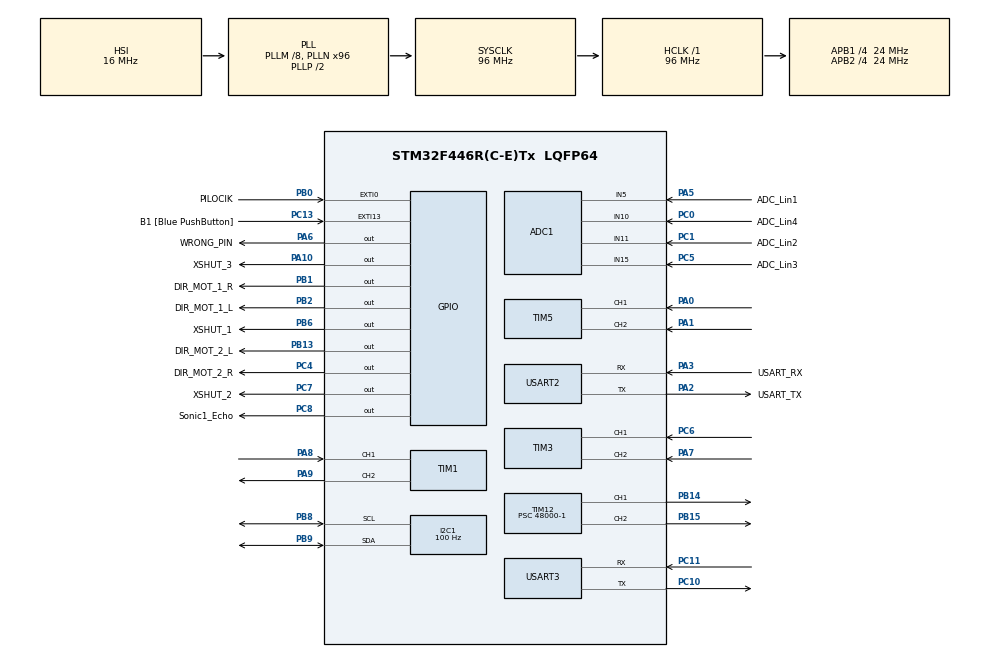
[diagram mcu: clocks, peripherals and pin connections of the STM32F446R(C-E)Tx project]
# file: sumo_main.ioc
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ADC1.Channel-2\#ChannelRegularConversion=ADC_CHANNEL_5
ADC1.NbrOfConversionFlag=1
ADC1.Rank-2\#ChannelRegularConversion=1
ADC1.SamplingTime-2\#ChannelRegularConversion=ADC_SAMPLETIME_3CYCLES
ADC1.master=1
I2C1.ClockSpeed=100
Mcu.Family=STM32F4
Mcu.Name=STM32F446R(C-E)Tx
Mcu.Package=LQFP64
NVIC.EXTI0_IRQn=true\:0\:0\:false\:false\:true\:true\:true\:true
NVIC.PriorityGroup=NVIC_PRIORITYGROUP_0
NVIC.TIM1_BRK_TIM9_IRQn=true\:0\:0\:false\:false\:true\:true\:true\:true
NVIC.TIM8_UP_TIM13_IRQn=true\:0\:0\:false\:false\:true\:true\:true\:true
PA0-WKUP.Signal=S_TIM5_CH1
PA1.Signal=S_TIM5_CH2
PA10.GPIO_Label=XSHUT_3
PA10.Signal=GPIO_Output
PA13.GPIO_Label=TMS
PA13.Signal=SYS_JTMS-SWDIO
PA14.GPIO_Label=TCK
PA14.Signal=SYS_JTCK-SWCLK
PA2.GPIO_Label=USART_TX
PA2.Mode=Asynchronous
PA2.Signal=USART2_TX
PA3.GPIO_Label=USART_RX
PA3.Mode=Asynchronous
PA3.Signal=USART2_RX
PA5.GPIO_Label=ADC_Lin1
PA5.Signal=ADCx_IN5
PA6.GPIO_Label=WRONG_PIN
PA6.Signal=GPIO_Output
PA7.Signal=S_TIM3_CH2
PA8.Signal=S_TIM1_CH1
PA9.Signal=S_TIM1_CH2
PB0.GPIO_Label=PILOCIK
PB0.Signal=GPXTI0
PB1.GPIO_Label=DIR_MOT_1_R
PB1.Signal=GPIO_Output
PB10.Signal=S_TIM2_CH3
PB13.GPIO_Label=DIR_MOT_2_L
PB13.Signal=GPIO_Output
PB14.Signal=S_TIM12_CH1
PB15.Signal=S_TIM12_CH2
PB2.GPIO_Label=DIR_MOT_1_L
PB2.Signal=GPIO_Output
PB3.Signal=S_TIM2_CH2
PB6.GPIO_Label=XSHUT_1
PB6.Signal=GPIO_Output
PB8.Mode=I2C
PB8.Signal=I2C1_SCL
PB9.Mode=I2C
PB9.Signal=I2C1_SDA
PC0.GPIO_Label=ADC_Lin4
PC0.Signal=ADCx_IN10
PC1.GPIO_Label=ADC_Lin2
PC1.Signal=ADCx_IN11
PC10.Mode=Asynchronous
PC10.Signal=USART3_TX
PC11.Mode=Asynchronous
PC11.Signal=USART3_RX
PC13.GPIO_Label=B1 [Blue PushButton]
PC13.GPIO_ModeDefaultEXTI=GPIO_MODE_IT_FALLING
PC13.Signal=GPXTI13
PC14-OSC32_IN.Signal=RCC_OSC32_IN
PC15-OSC32_OUT.Signal=RCC_OSC32_OUT
PC4.GPIO_Label=DIR_MOT_2_R
PC4.Signal=GPIO_Output
PC5.GPIO_Label=ADC_Lin3
PC5.Signal=ADCx_IN15
PC6.Signal=S_TIM3_CH1
PC7.GPIO_Label=XSHUT_2
PC7.Signal=GPIO_Output
PC8.GPIO_Label=Sonic1_Echo
PC8.Signal=GPIO_Output
PH0-OSC_IN.Signal=RCC_OSC_IN
PH1-OSC_OUT.Signal=RCC_OSC_OUT
ProjectManager.HeapSize=0x200
ProjectManager.StackSize=0x400
ProjectManager.TargetToolchain=STM32CubeIDE
RCC.AHBFreq_Value=96000000
RCC.APB1CLKDivider=RCC_HCLK_DIV4
RCC.APB1Freq_Value=24000000
RCC.APB1TimFreq_Value=48000000
RCC.APB2CLKDivider=RCC_HCLK_DIV4
RCC.APB2Freq_Value=24000000
RCC.APB2TimFreq_Value=48000000
RCC.CortexFreq_Value=96000000
RCC.FLatency-AdvancedSettings=FLASH_LATENCY_3
RCC.HCLKFreq_Value=96000000
RCC.HSE_VALUE=8000000
RCC.HSI_VALUE=16000000
RCC.LSE_VALUE=32768
RCC.PLLM=8
RCC.PLLN=96
RCC.SYSCLKFreq_VALUE=96000000
RCC.SYSCLKSource=RCC_SYSCLKSOURCE_PLLCLK
RCC.USBFreq_Value=96000000
RCC.VCOOutputFreq_Value=192000000
SH.ADCx_IN10.0=ADC1_IN10,IN10
SH.ADCx_IN11.0=ADC1_IN11,IN11
SH.ADCx_IN15.0=ADC1_IN15,IN15
SH.ADCx_IN5.0=ADC1_IN5,IN5
SH.S_TIM12_CH1.0=TIM12_CH1,PWM Generation1 CH1
SH.S_TIM12_CH2.0=TIM12_CH2,PWM Generation2 CH2
SH.S_TIM1_CH1.0=TIM1_CH1,Input_Capture1_from_TI1
SH.S_TIM1_CH2.0=TIM1_CH2,PWM Generation2 CH2
SH.S_TIM2_CH2.0=TIM2_CH2
SH.S_TIM2_CH3.0=TIM2_CH3
SH.S_TIM3_CH1.0=TIM3_CH1,Encoder_Interface
SH.S_TIM3_CH2.0=TIM3_CH2,Encoder_Interface
SH.S_TIM5_CH1.0=TIM5_CH1,Encoder_Interface
SH.S_TIM5_CH2.0=TIM5_CH2,Encoder_Interface
TIM1.Channel-Input_Capture1_from_TI1=TIM_CHANNEL_1
TIM1.Channel-PWM\ Generation2\ CH2=TIM_CHANNEL_2
TIM12.Channel-PWM\ Generation1\ CH1=TIM_CHANNEL_1
TIM12.Channel-PWM\ Generation2\ CH2=TIM_CHANNEL_2
TIM12.Period=300-1
TIM12.Prescaler=48000-1
TIM13.Channel=TIM_CHANNEL_1
TIM13.Period=48000-1
TIM13.Prescaler=1000-1
TIM9.Period=85-1
TIM9.Prescaler=48000-1
USART2.VirtualMode=VM_ASYNC
USART3.VirtualMode=VM_ASYNC
VP_TIM12_VS_ClockSourceINT.Mode=Internal
VP_TIM13_VS_ClockSourceINT.Mode=Enable_Timer
VP_TIM13_VS_OPM.Mode=OPM_bit
VP_TIM13_VS_no_output1.Mode=Output Compare1 No Output
VP_TIM9_VS_ClockSourceINT.Mode=Internal
board=NUCLEO-F446RE

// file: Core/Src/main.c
/* USER CODE BEGIN Header */
/**
  ******************************************************************************
  * @file           : main.c
  * @brief          : Main program body
  ******************************************************************************
  * @attention
  *
  * Copyright (c) 2025 STMicroelectronics.
  * All rights reserved.
  *
  * This software is licensed under terms that can be found in the LICENSE file
  * in the root directory of this software component.
  * If no LICENSE file comes with this software, it is provided AS-IS.
  *
  ******************************************************************************
  */
/* USER CODE END Header */
#include "main.h"

/* USER CODE BEGIN Includes */
#include <stdbool.h>
#include <stdio.h>
#include <string.h>

#include "lidar_I2C.h"
#include "lidar_UART.h"
#include "lineDetector.h"
#include "motors.h"
/* USER CODE END Includes */

/* USER CODE BEGIN PD */
#define forwardMaxSpeed 90
#define forwardMediumSpeed 50
#define forwardMinSpeed 35

#define turnMaxSpeed 55
#define turnMediumSpeed 50
#define turnMinSpeed 30

uint32_t lidarsThreshold = 300;

uint16_t distance1 = 0;
uint16_t distance2 = 0;
uint16_t distance3 = 0;
uint16_t distance4 = 0;

/* USER CODE END PD */

ADC_HandleTypeDef hadc1;

I2C_HandleTypeDef hi2c1;

TIM_HandleTypeDef htim1;
TIM_HandleTypeDef htim3;
TIM_HandleTypeDef htim5;
TIM_HandleTypeDef htim9;
TIM_HandleTypeDef htim12;
TIM_HandleTypeDef htim13;

UART_HandleTypeDef huart2;
UART_HandleTypeDef huart3;

/* USER CODE BEGIN PV */
//this value if false makes program stucks inside while(1) loop thats makes nothing
bool SUMO_ENABLE = true;

//while true all printf commands wont work - its for saving time
bool PRINTF_ENABLED = false;

//while true robot start moving slowly forward and making small truns to find enemy robot
bool SEARCH_ENABLED = true;

//while true robot can move
bool MOTORS_ENABLED = true;

bool LINE_SENSOR_ENABLED = false;

//the status of lidar detection if true than lidar is detecting some object
bool leftSideLidar = false;
bool leftFrontLidar = false;
bool rigthFrontLidar = false;
bool rigthSideLidar = false;

bool lineDetected = false;

#define ForwardSearch 1
#define LeftSearch 2
#define RigthSearch 3
#define RigthSearch2 4
#define LeftSearch2 5

int searchState = ForwardSearch;
int searchStateCounter = 0;
int searchStateChangeAfter = 20;

/* USER CODE END PV */

void SystemClock_Config(void);
static void MX_GPIO_Init(void);
static void MX_I2C1_Init(void);
static void MX_TIM3_Init(void);
static void MX_ADC1_Init(void);
static void MX_TIM5_Init(void);
static void MX_TIM12_Init(void);
static void MX_USART2_UART_Init(void);
static void MX_TIM1_Init(void);
static void MX_USART3_UART_Init(void);
static void MX_TIM9_Init(void);
static void MX_TIM13_Init(void);
/* USER CODE BEGIN PFP */

//this function allows easy UART printing (printf)
int __io_putchar(int ch)
{
	if(PRINTF_ENABLED){
		if (ch == '\n') {
		        uint8_t ch2 = '\r';
		        HAL_UART_Transmit(&huart2, &ch2, 1, HAL_MAX_DELAY);
		    }
	    HAL_UART_Transmit(&huart2, (uint8_t*)&ch, 1, HAL_MAX_DELAY);
	}
    return 1;
}

//clears screen inside terminal (works fine for PUTTY terminal, might be not compatible with others)
void clearScreen()
{
	uint8_t uartClrScr[] = { 27, 91, 50, 74, 27, 91, 72, 0 };
	HAL_UART_Transmit(&huart2, uartClrScr, sizeof(uartClrScr), 10);
}

//robot start moving slowly forward and making small truns to find enemy robot
void SumoSearch()
{
  searchStateCounter++;
  switch (searchState) {
	case ForwardSearch:
		if(searchStateCounter == 3 * searchStateChangeAfter)
		{
			searchState = LeftSearch;
			searchStateCounter = 0;
		}
		move_at_speed(forwardMediumSpeed, RIGTH_MOTOR);
		move_at_speed(forwardMediumSpeed, LEFT_MOTOR);
		break;
	case LeftSearch:
		if(searchStateCounter == searchStateChangeAfter)
		{
			searchState = RigthSearch;
			searchStateCounter = 0;
		}
		move_at_speed(turnMinSpeed, RIGTH_MOTOR);
		move_at_speed(0, LEFT_MOTOR);
		break;
	case RigthSearch:
		if(searchStateCounter == searchStateChangeAfter)
		{
			searchState = RigthSearch2;
			searchStateCounter = 0;
		}
		move_at_speed(0, RIGTH_MOTOR);
		move_at_speed(turnMinSpeed, LEFT_MOTOR);
		break;
	case RigthSearch2:
		if(searchStateCounter == searchStateChangeAfter)
		{
			searchState = LeftSearch2;
			searchStateCounter = 0;
		}
		move_at_speed(0, RIGTH_MOTOR);
		move_at_speed(turnMinSpeed, LEFT_MOTOR);
		break;
	case LeftSearch2:
		if(searchStateCounter == searchStateChangeAfter)
		{
			searchState = ForwardSearch;
			searchStateCounter = 0;
		}
		move_at_speed(turnMinSpeed, RIGTH_MOTOR);
		move_at_speed(0, LEFT_MOTOR);
		break;
	default:
		searchState = ForwardSearch;
		searchStateCounter = 0;
		move_at_speed(forwardMediumSpeed, RIGTH_MOTOR);
		move_at_speed(forwardMediumSpeed, LEFT_MOTOR);
		break;
  }
}

/* USER CODE END PFP */

int main(void)
{

  /* MCU Configuration--------------------------------------------------------*/

  /* Reset of all peripherals, Initializes the Flash interface and the Systick. */
  HAL_Init();

  /* Configure the system clock */
  SystemClock_Config();

  /* Initialize all configured peripherals */
  MX_GPIO_Init();
  MX_I2C1_Init();
  MX_TIM3_Init();
  MX_ADC1_Init();
  MX_TIM5_Init();
  MX_TIM12_Init();
  MX_USART2_UART_Init();
  MX_TIM1_Init();
  MX_USART3_UART_Init();
  MX_TIM9_Init();
  MX_TIM13_Init();
  /* USER CODE BEGIN 2 */
  HAL_Delay(100);
  clearScreen();
  if(!PRINTF_ENABLED){
	  PRINTF_ENABLED = true;
	  printf("Printing is disabled\n");
	  PRINTF_ENABLED = false;
  }

  Lidar_initALL();

  //enables timer that will be used for IR sensor to turn on and off robot
  HAL_TIM_OnePulse_Start_IT(&htim13, TIM_CHANNEL_ALL);

  HAL_TIM_PWM_Start(&htim12, TIM_CHANNEL_1);
  HAL_TIM_PWM_Start(&htim12, TIM_CHANNEL_2);

  sumoUpdateDirection();

  //move_at_speed(10, RIGTH_MOTOR);
  //move_at_speed(10, LEFT_MOTOR);

  /* USER CODE END 2 */

  /* Infinite loop */
  /* USER CODE BEGIN WHILE */

  if(!SUMO_ENABLE)
  	  {
  		  printf("Waiting for start signal\n\r");
  		  while(!SUMO_ENABLE){
  			  move_at_speed(0, RIGTH_MOTOR);
  			  move_at_speed(0, LEFT_MOTOR);
  		  }
  		  printf("Sumo enabled\n\r");
  	  }//*/

  bool firstDetection = false;

  while(1)
  {
	  move_at_speed(forwardMaxSpeed, RIGTH_MOTOR);
	  HAL_Delay(1000);
	  change_direction(RIGTH_MOTOR);
	  HAL_Delay(1000);
	  move_at_speed(0, RIGTH_MOTOR);
	  HAL_Delay(1000);
	  move_at_speed(forwardMaxSpeed, LEFT_MOTOR);
	  HAL_Delay(1000);
	  change_direction(LEFT_MOTOR);
	  HAL_Delay(1000);
	  move_at_speed(0, LEFT_MOTOR);
	  HAL_Delay(1000);
}

  while(!firstDetection)
  {
	  distance1 = readLidar3();			//temporary switched lidar 1 and 3
	  distance2 = readLidar2();
	  distance3 = readLidar1();        //temporary switched lidar 1 and 3
	  distance4 = readLidar4();

	  if(distance1 < lidarsThreshold)
	  {
		  rigthSideLidar = true;
	  }else rigthSideLidar=false;
	  if(distance2 < lidarsThreshold)
	  {
		  rigthFrontLidar = true;
	  }else rigthFrontLidar=false;

	  if(distance3 < lidarsThreshold)
	  {
		  rigthFrontLidar = true;
	  }else leftFrontLidar=false;
	  if(distance4 < lidarsThreshold)
	  {
		  leftSideLidar = true;
	  }else leftSideLidar=false;

	  move_at_speed(90, RIGTH_MOTOR);
	  move_at_speed(0, LEFT_MOTOR);

	  if(rigthSideLidar || rigthFrontLidar || rigthFrontLidar || rigthFrontLidar)
		  {
		  	  firstDetection = true;
			  move_at_speed(0, RIGTH_MOTOR);
			  move_at_speed(0, LEFT_MOTOR);
		  }
  }

  while (1)
  {
	  ///*
	  if(!SUMO_ENABLE)
	  {
		  printf("Waiting for start signal\n\r");
		  while(!SUMO_ENABLE){
			  move_at_speed(0, RIGTH_MOTOR);
			  move_at_speed(0, LEFT_MOTOR);
		  }
		  printf("Sumo enabled\n\r");
	  }//*/

	  auto start1 = HAL_GetTick();
	  distance1 = readLidar3();			//temporary switched lidar 1 and 3
	  auto end1 = HAL_GetTick();
	  auto start2 = HAL_GetTick();
	  distance2 = readLidar2();
	  auto end2 = HAL_GetTick();
	  auto start3 = HAL_GetTick();
	  distance3 = readLidar1();        //temporary switched lidar 1 and 3
	  auto end3 = HAL_GetTick();
	  auto start4 = HAL_GetTick();
	  distance4 = readLidar4();
	  auto end4 = HAL_GetTick();

	  if(distance1 < lidarsThreshold)
	  {
		  rigthSideLidar = true;
	  }else rigthSideLidar=false;
	  if(distance2 < lidarsThreshold)
	  {
		  rigthFrontLidar = true;
	  }else rigthFrontLidar=false;

	  if(distance3 < lidarsThreshold)
	  {
		  leftFrontLidar = true;
	  }else leftFrontLidar=false;
	  if(distance4 < lidarsThreshold)
	  {
		  leftSideLidar = true;
	  }else leftSideLidar=false;

      if(!LINE_SENSOR_ENABLED)
      {
    	  lineDetected = false;
      }
	  if(!lineDetected && MOTORS_ENABLED){
		  //move forward
		  if(leftFrontLidar && rigthFrontLidar)
		  {
			  move_at_speed(forwardMaxSpeed, RIGTH_MOTOR);
			  move_at_speed(forwardMaxSpeed, LEFT_MOTOR);
		  }

		  //turn right
		  else if(leftFrontLidar && leftSideLidar)
		  {
			  move_at_speed(forwardMaxSpeed, RIGTH_MOTOR);
			  move_at_speed(0, LEFT_MOTOR);
		  }

		  //turn left
		  else if(rigthFrontLidar && rigthSideLidar)
		  {
			  move_at_speed(0, RIGTH_MOTOR);
			  move_at_speed(forwardMaxSpeed, LEFT_MOTOR);
		  }

		  //side lidars detection (wide robot?) idk move forward
		  else if(rigthSideLidar && leftSideLidar)
		  {
			  move_at_speed(forwardMaxSpeed, RIGTH_MOTOR);
			  move_at_speed(forwardMaxSpeed, LEFT_MOTOR);
		  }

		  //turn right slightly
		  else if(leftSideLidar)
		  {
			  move_at_speed(turnMinSpeed, RIGTH_MOTOR);
			  move_at_speed(0, LEFT_MOTOR);
		  }

		  //turn right medium
		  else if(leftFrontLidar)
		  {
			  move_at_speed(turnMediumSpeed, RIGTH_MOTOR);
			  move_at_speed(0, LEFT_MOTOR);
		  }

		  //turn left slightly
		  else if(rigthSideLidar)
		  {
			  move_at_speed(0, RIGTH_MOTOR);
			  move_at_speed(turnMediumSpeed, LEFT_MOTOR);
		  }
		  //turn left medium
		  else if(rigthFrontLidar)
		  {
			  move_at_speed(0, RIGTH_MOTOR);
			  move_at_speed(turnMediumSpeed, LEFT_MOTOR);
		  }
		  else if(SEARCH_ENABLED)SumoSearch();
		  else
		  {
			  move_at_speed(0, RIGTH_MOTOR);
			  move_at_speed(0, LEFT_MOTOR);
		  }
		  //HAL_TIM_Base_Start_IT(&htim9);
	  }
	  printf("Czujnik 1: %d mm, Czujnik 2: %d mm, Czujnik 3: %d mm, Czujnik 4: %d mm\n", distance1, distance2, distance3, distance4);
	  if(!PRINTF_ENABLED)
	  {
		  PRINTF_ENABLED = true;
		  printf("%dms %dms %dms %dms\n",end1-start1, end2-start2, end3-start3, end4-start4);
		  PRINTF_ENABLED = false;
	  }else printf("%dms %dms %dms %dms\n",end1-start1, end2-start2, end3-start3, end4-start4);
	  //HAL_Delay(100);

	  auto line2 = LineDetectorMessure(2);
	  auto line3 = LineDetectorMessure(3);

	  if(line2 < 500)lineDetected = true;
	  else if (line3 < 500)lineDetected = true;
	  else lineDetected = false;

	  if(lineDetected && LINE_SENSOR_ENABLED)
	  {
		  move_at_speed(0, RIGTH_MOTOR);
		  move_at_speed(0, LEFT_MOTOR);
	  }

	  printf("Line2: %d, Line3: %d\n",line2,line3);

    /* USER CODE END WHILE */

  }
}

void SystemClock_Config(void)
{
  RCC_OscInitTypeDef RCC_OscInitStruct = {0};
  RCC_ClkInitTypeDef RCC_ClkInitStruct = {0};

  /** Configure the main internal regulator output voltage
  */
  __HAL_RCC_PWR_CLK_ENABLE();
  __HAL_PWR_VOLTAGESCALING_CONFIG(PWR_REGULATOR_VOLTAGE_SCALE3);

  /** Initializes the RCC Oscillators according to the specified parameters
  * in the RCC_OscInitTypeDef structure.
  */
  RCC_OscInitStruct.OscillatorType = RCC_OSCILLATORTYPE_HSI;
  RCC_OscInitStruct.HSIState = RCC_HSI_ON;
  RCC_OscInitStruct.HSICalibrationValue = RCC_HSICALIBRATION_DEFAULT;
  RCC_OscInitStruct.PLL.PLLState = RCC_PLL_ON;
  RCC_OscInitStruct.PLL.PLLSource = RCC_PLLSOURCE_HSI;
  RCC_OscInitStruct.PLL.PLLM = 8;
  RCC_OscInitStruct.PLL.PLLN = 96;
  RCC_OscInitStruct.PLL.PLLP = RCC_PLLP_DIV2;
  RCC_OscInitStruct.PLL.PLLQ = 2;
  RCC_OscInitStruct.PLL.PLLR = 2;
  if (HAL_RCC_OscConfig(&RCC_OscInitStruct) != HAL_OK)
  {
    Error_Handler();
  }

  /** Initializes the CPU, AHB and APB buses clocks
  */
  RCC_ClkInitStruct.ClockType = RCC_CLOCKTYPE_HCLK|RCC_CLOCKTYPE_SYSCLK
                              |RCC_CLOCKTYPE_PCLK1|RCC_CLOCKTYPE_PCLK2;
  RCC_ClkInitStruct.SYSCLKSource = RCC_SYSCLKSOURCE_PLLCLK;
  RCC_ClkInitStruct.AHBCLKDivider = RCC_SYSCLK_DIV1;
  RCC_ClkInitStruct.APB1CLKDivider = RCC_HCLK_DIV4;
  RCC_ClkInitStruct.APB2CLKDivider = RCC_HCLK_DIV4;

  if (HAL_RCC_ClockConfig(&RCC_ClkInitStruct, FLASH_LATENCY_3) != HAL_OK)
  {
    Error_Handler();
  }
}

static void MX_ADC1_Init(void)
{

  ADC_ChannelConfTypeDef sConfig = {0};

  /** Configure the global features of the ADC (Clock, Resolution, Data Alignment and number of conversion)
  */
  hadc1.Instance = ADC1;
  hadc1.Init.ClockPrescaler = ADC_CLOCK_SYNC_PCLK_DIV2;
  hadc1.Init.Resolution = ADC_RESOLUTION_12B;
  hadc1.Init.ScanConvMode = DISABLE;
  hadc1.Init.ContinuousConvMode = DISABLE;
  hadc1.Init.DiscontinuousConvMode = DISABLE;
  hadc1.Init.ExternalTrigConvEdge = ADC_EXTERNALTRIGCONVEDGE_NONE;
  hadc1.Init.ExternalTrigConv = ADC_SOFTWARE_START;
  hadc1.Init.DataAlign = ADC_DATAALIGN_RIGHT;
  hadc1.Init.NbrOfConversion = 1;
  hadc1.Init.DMAContinuousRequests = DISABLE;
  hadc1.Init.EOCSelection = ADC_EOC_SINGLE_CONV;
  if (HAL_ADC_Init(&hadc1) != HAL_OK)
  {
    Error_Handler();
  }

  /** Configure for the selected ADC regular channel its corresponding rank in the sequencer and its sample time.
  */
  sConfig.Channel = ADC_CHANNEL_5;
  sConfig.Rank = 1;
  sConfig.SamplingTime = ADC_SAMPLETIME_3CYCLES;
  if (HAL_ADC_ConfigChannel(&hadc1, &sConfig) != HAL_OK)
  {
    Error_Handler();
  }

}

static void MX_I2C1_Init(void)
{

  hi2c1.Instance = I2C1;
  hi2c1.Init.ClockSpeed = 100;
  hi2c1.Init.DutyCycle = I2C_DUTYCYCLE_2;
  hi2c1.Init.OwnAddress1 = 0;
  hi2c1.Init.AddressingMode = I2C_ADDRESSINGMODE_7BIT;
  hi2c1.Init.DualAddressMode = I2C_DUALADDRESS_DISABLE;
  hi2c1.Init.OwnAddress2 = 0;
  hi2c1.Init.GeneralCallMode = I2C_GENERALCALL_DISABLE;
  hi2c1.Init.NoStretchMode = I2C_NOSTRETCH_DISABLE;
  if (HAL_I2C_Init(&hi2c1) != HAL_OK)
  {
    Error_Handler();
  }

}

static void MX_TIM1_Init(void)
{

  TIM_MasterConfigTypeDef sMasterConfig = {0};
  TIM_IC_InitTypeDef sConfigIC = {0};
  TIM_OC_InitTypeDef sConfigOC = {0};
  TIM_BreakDeadTimeConfigTypeDef sBreakDeadTimeConfig = {0};

  htim1.Instance = TIM1;
  htim1.Init.Prescaler = 0;
  htim1.Init.CounterMode = TIM_COUNTERMODE_UP;
  htim1.Init.Period = 65535;
  htim1.Init.ClockDivision = TIM_CLOCKDIVISION_DIV1;
  htim1.Init.RepetitionCounter = 0;
  htim1.Init.AutoReloadPreload = TIM_AUTORELOAD_PRELOAD_DISABLE;
  if (HAL_TIM_IC_Init(&htim1) != HAL_OK)
  {
    Error_Handler();
  }
  if (HAL_TIM_PWM_Init(&htim1) != HAL_OK)
  {
    Error_Handler();
  }
  sMasterConfig.MasterOutputTrigger = TIM_TRGO_RESET;
  sMasterConfig.MasterSlaveMode = TIM_MASTERSLAVEMODE_DISABLE;
  if (HAL_TIMEx_MasterConfigSynchronization(&htim1, &sMasterConfig) != HAL_OK)
  {
    Error_Handler();
  }
  sConfigIC.ICPolarity = TIM_INPUTCHANNELPOLARITY_RISING;
  sConfigIC.ICSelection = TIM_ICSELECTION_DIRECTTI;
  sConfigIC.ICPrescaler = TIM_ICPSC_DIV1;
  sConfigIC.ICFilter = 0;
  if (HAL_TIM_IC_ConfigChannel(&htim1, &sConfigIC, TIM_CHANNEL_1) != HAL_OK)
  {
    Error_Handler();
  }
  sConfigOC.OCMode = TIM_OCMODE_PWM1;
  sConfigOC.Pulse = 0;
  sConfigOC.OCPolarity = TIM_OCPOLARITY_HIGH;
  sConfigOC.OCNPolarity = TIM_OCNPOLARITY_HIGH;
  sConfigOC.OCFastMode = TIM_OCFAST_DISABLE;
  sConfigOC.OCIdleState = TIM_OCIDLESTATE_RESET;
  sConfigOC.OCNIdleState = TIM_OCNIDLESTATE_RESET;
  if (HAL_TIM_PWM_ConfigChannel(&htim1, &sConfigOC, TIM_CHANNEL_2) != HAL_OK)
  {
    Error_Handler();
  }
  sBreakDeadTimeConfig.OffStateRunMode = TIM_OSSR_DISABLE;
  sBreakDeadTimeConfig.OffStateIDLEMode = TIM_OSSI_DISABLE;
  sBreakDeadTimeConfig.LockLevel = TIM_LOCKLEVEL_OFF;
  sBreakDeadTimeConfig.DeadTime = 0;
  sBreakDeadTimeConfig.BreakState = TIM_BREAK_DISABLE;
  sBreakDeadTimeConfig.BreakPolarity = TIM_BREAKPOLARITY_HIGH;
  sBreakDeadTimeConfig.AutomaticOutput = TIM_AUTOMATICOUTPUT_DISABLE;
  if (HAL_TIMEx_ConfigBreakDeadTime(&htim1, &sBreakDeadTimeConfig) != HAL_OK)
  {
    Error_Handler();
  }
  HAL_TIM_MspPostInit(&htim1);

}

static void MX_TIM3_Init(void)
{

  TIM_Encoder_InitTypeDef sConfig = {0};
  TIM_MasterConfigTypeDef sMasterConfig = {0};

  htim3.Instance = TIM3;
  htim3.Init.Prescaler = 0;
  htim3.Init.CounterMode = TIM_COUNTERMODE_UP;
  htim3.Init.Period = 65535;
  htim3.Init.ClockDivision = TIM_CLOCKDIVISION_DIV1;
  htim3.Init.AutoReloadPreload = TIM_AUTORELOAD_PRELOAD_DISABLE;
  sConfig.EncoderMode = TIM_ENCODERMODE_TI1;
  sConfig.IC1Polarity = TIM_ICPOLARITY_RISING;
  sConfig.IC1Selection = TIM_ICSELECTION_DIRECTTI;
  sConfig.IC1Prescaler = TIM_ICPSC_DIV1;
  sConfig.IC1Filter = 0;
  sConfig.IC2Polarity = TIM_ICPOLARITY_RISING;
  sConfig.IC2Selection = TIM_ICSELECTION_DIRECTTI;
  sConfig.IC2Prescaler = TIM_ICPSC_DIV1;
  sConfig.IC2Filter = 0;
  if (HAL_TIM_Encoder_Init(&htim3, &sConfig) != HAL_OK)
  {
    Error_Handler();
  }
  sMasterConfig.MasterOutputTrigger = TIM_TRGO_RESET;
  sMasterConfig.MasterSlaveMode = TIM_MASTERSLAVEMODE_DISABLE;
  if (HAL_TIMEx_MasterConfigSynchronization(&htim3, &sMasterConfig) != HAL_OK)
  {
    Error_Handler();
  }

}

static void MX_TIM5_Init(void)
{

  TIM_Encoder_InitTypeDef sConfig = {0};
  TIM_MasterConfigTypeDef sMasterConfig = {0};

  htim5.Instance = TIM5;
  htim5.Init.Prescaler = 0;
  htim5.Init.CounterMode = TIM_COUNTERMODE_UP;
  htim5.Init.Period = 4294967295;
  htim5.Init.ClockDivision = TIM_CLOCKDIVISION_DIV1;
  htim5.Init.AutoReloadPreload = TIM_AUTORELOAD_PRELOAD_DISABLE;
  sConfig.EncoderMode = TIM_ENCODERMODE_TI1;
  sConfig.IC1Polarity = TIM_ICPOLARITY_RISING;
  sConfig.IC1Selection = TIM_ICSELECTION_DIRECTTI;
  sConfig.IC1Prescaler = TIM_ICPSC_DIV1;
  sConfig.IC1Filter = 0;
  sConfig.IC2Polarity = TIM_ICPOLARITY_RISING;
  sConfig.IC2Selection = TIM_ICSELECTION_DIRECTTI;
  sConfig.IC2Prescaler = TIM_ICPSC_DIV1;
  sConfig.IC2Filter = 0;
  if (HAL_TIM_Encoder_Init(&htim5, &sConfig) != HAL_OK)
  {
    Error_Handler();
  }
  sMasterConfig.MasterOutputTrigger = TIM_TRGO_RESET;
  sMasterConfig.MasterSlaveMode = TIM_MASTERSLAVEMODE_DISABLE;
  if (HAL_TIMEx_MasterConfigSynchronization(&htim5, &sMasterConfig) != HAL_OK)
  {
    Error_Handler();
  }

}

static void MX_TIM9_Init(void)
{

  TIM_ClockConfigTypeDef sClockSourceConfig = {0};

  htim9.Instance = TIM9;
  htim9.Init.Prescaler = 48000-1;
  htim9.Init.CounterMode = TIM_COUNTERMODE_UP;
  htim9.Init.Period = 85-1;
  htim9.Init.ClockDivision = TIM_CLOCKDIVISION_DIV1;
  htim9.Init.AutoReloadPreload = TIM_AUTORELOAD_PRELOAD_DISABLE;
  if (HAL_TIM_Base_Init(&htim9) != HAL_OK)
  {
    Error_Handler();
  }
  sClockSourceConfig.ClockSource = TIM_CLOCKSOURCE_INTERNAL;
  if (HAL_TIM_ConfigClockSource(&htim9, &sClockSourceConfig) != HAL_OK)
  {
    Error_Handler();
  }

}

static void MX_TIM12_Init(void)
{

  TIM_ClockConfigTypeDef sClockSourceConfig = {0};
  TIM_OC_InitTypeDef sConfigOC = {0};

  htim12.Instance = TIM12;
  htim12.Init.Prescaler = 48000-1;
  htim12.Init.CounterMode = TIM_COUNTERMODE_UP;
  htim12.Init.Period = 300-1;
  htim12.Init.ClockDivision = TIM_CLOCKDIVISION_DIV1;
  htim12.Init.AutoReloadPreload = TIM_AUTORELOAD_PRELOAD_DISABLE;
  if (HAL_TIM_Base_Init(&htim12) != HAL_OK)
  {
    Error_Handler();
  }
  sClockSourceConfig.ClockSource = TIM_CLOCKSOURCE_INTERNAL;
  if (HAL_TIM_ConfigClockSource(&htim12, &sClockSourceConfig) != HAL_OK)
  {
    Error_Handler();
  }
  if (HAL_TIM_PWM_Init(&htim12) != HAL_OK)
  {
    Error_Handler();
  }
  sConfigOC.OCMode = TIM_OCMODE_PWM1;
  sConfigOC.Pulse = 0;
  sConfigOC.OCPolarity = TIM_OCPOLARITY_HIGH;
  sConfigOC.OCFastMode = TIM_OCFAST_DISABLE;
  if (HAL_TIM_PWM_ConfigChannel(&htim12, &sConfigOC, TIM_CHANNEL_1) != HAL_OK)
  {
    Error_Handler();
  }
  if (HAL_TIM_PWM_ConfigChannel(&htim12, &sConfigOC, TIM_CHANNEL_2) != HAL_OK)
  {
    Error_Handler();
  }
  HAL_TIM_MspPostInit(&htim12);

}

static void MX_TIM13_Init(void)
{

  TIM_OC_InitTypeDef sConfigOC = {0};

  htim13.Instance = TIM13;
  htim13.Init.Prescaler = 1000-1;
  htim13.Init.CounterMode = TIM_COUNTERMODE_UP;
  htim13.Init.Period = 48000-1;
  htim13.Init.ClockDivision = TIM_CLOCKDIVISION_DIV1;
  htim13.Init.AutoReloadPreload = TIM_AUTORELOAD_PRELOAD_DISABLE;
  if (HAL_TIM_Base_Init(&htim13) != HAL_OK)
  {
    Error_Handler();
  }
  if (HAL_TIM_OC_Init(&htim13) != HAL_OK)
  {
    Error_Handler();
  }
  if (HAL_TIM_OnePulse_Init(&htim13, TIM_OPMODE_SINGLE) != HAL_OK)
  {
    Error_Handler();
  }
  sConfigOC.OCMode = TIM_OCMODE_TIMING;
  sConfigOC.Pulse = 0;
  sConfigOC.OCPolarity = TIM_OCPOLARITY_HIGH;
  sConfigOC.OCFastMode = TIM_OCFAST_DISABLE;
  if (HAL_TIM_OC_ConfigChannel(&htim13, &sConfigOC, TIM_CHANNEL_1) != HAL_OK)
  {
    Error_Handler();
  }

}

static void MX_USART2_UART_Init(void)
{

  huart2.Instance = USART2;
  huart2.Init.BaudRate = 115200;
  huart2.Init.WordLength = UART_WORDLENGTH_8B;
  huart2.Init.StopBits = UART_STOPBITS_1;
  huart2.Init.Parity = UART_PARITY_NONE;
  huart2.Init.Mode = UART_MODE_TX_RX;
  huart2.Init.HwFlowCtl = UART_HWCONTROL_NONE;
  huart2.Init.OverSampling = UART_OVERSAMPLING_16;
  if (HAL_UART_Init(&huart2) != HAL_OK)
  {
    Error_Handler();
  }

}

static void MX_USART3_UART_Init(void)
{

  huart3.Instance = USART3;
  huart3.Init.BaudRate = 115200;
  huart3.Init.WordLength = UART_WORDLENGTH_8B;
  huart3.Init.StopBits = UART_STOPBITS_1;
  huart3.Init.Parity = UART_PARITY_NONE;
  huart3.Init.Mode = UART_MODE_TX_RX;
  huart3.Init.HwFlowCtl = UART_HWCONTROL_NONE;
  huart3.Init.OverSampling = UART_OVERSAMPLING_16;
  if (HAL_UART_Init(&huart3) != HAL_OK)
  {
    Error_Handler();
  }

}

static void MX_GPIO_Init(void)
{
  GPIO_InitTypeDef GPIO_InitStruct = {0};

  /* GPIO Ports Clock Enable */
  __HAL_RCC_GPIOC_CLK_ENABLE();
  __HAL_RCC_GPIOH_CLK_ENABLE();
  __HAL_RCC_GPIOA_CLK_ENABLE();
  __HAL_RCC_GPIOB_CLK_ENABLE();

  /*Configure GPIO pin Output Level */
  HAL_GPIO_WritePin(GPIOA, WRONG_PIN_Pin|XSHUT_3_Pin, GPIO_PIN_RESET);

  /*Configure GPIO pin Output Level */
  HAL_GPIO_WritePin(GPIOC, DIR_MOT_2_R_Pin|XSHUT_2_Pin|Sonic1_Echo_Pin, GPIO_PIN_RESET);

  /*Configure GPIO pin Output Level */
  HAL_GPIO_WritePin(GPIOB, DIR_MOT_1_R_Pin|DIR_MOT_1_L_Pin|DIR_MOT_2_L_Pin|XSHUT_1_Pin, GPIO_PIN_RESET);

  /*Configure GPIO pin : B1_Pin */
  GPIO_InitStruct.Pin = B1_Pin;
  GPIO_InitStruct.Mode = GPIO_MODE_IT_FALLING;
  GPIO_InitStruct.Pull = GPIO_NOPULL;
  HAL_GPIO_Init(B1_GPIO_Port, &GPIO_InitStruct);

  /*Configure GPIO pins : WRONG_PIN_Pin XSHUT_3_Pin */
  GPIO_InitStruct.Pin = WRONG_PIN_Pin|XSHUT_3_Pin;
  GPIO_InitStruct.Mode = GPIO_MODE_OUTPUT_PP;
  GPIO_InitStruct.Pull = GPIO_NOPULL;
  GPIO_InitStruct.Speed = GPIO_SPEED_FREQ_LOW;
  HAL_GPIO_Init(GPIOA, &GPIO_InitStruct);

  /*Configure GPIO pins : DIR_MOT_2_R_Pin XSHUT_2_Pin Sonic1_Echo_Pin */
  GPIO_InitStruct.Pin = DIR_MOT_2_R_Pin|XSHUT_2_Pin|Sonic1_Echo_Pin;
  GPIO_InitStruct.Mode = GPIO_MODE_OUTPUT_PP;
  GPIO_InitStruct.Pull = GPIO_NOPULL;
  GPIO_InitStruct.Speed = GPIO_SPEED_FREQ_LOW;
  HAL_GPIO_Init(GPIOC, &GPIO_InitStruct);

  /*Configure GPIO pin : PILOCIK_Pin */
  GPIO_InitStruct.Pin = PILOCIK_Pin;
  GPIO_InitStruct.Mode = GPIO_MODE_IT_RISING;
  GPIO_InitStruct.Pull = GPIO_NOPULL;
  HAL_GPIO_Init(PILOCIK_GPIO_Port, &GPIO_InitStruct);

  /*Configure GPIO pins : DIR_MOT_1_R_Pin DIR_MOT_1_L_Pin DIR_MOT_2_L_Pin XSHUT_1_Pin */
  GPIO_InitStruct.Pin = DIR_MOT_1_R_Pin|DIR_MOT_1_L_Pin|DIR_MOT_2_L_Pin|XSHUT_1_Pin;
  GPIO_InitStruct.Mode = GPIO_MODE_OUTPUT_PP;
  GPIO_InitStruct.Pull = GPIO_NOPULL;
  GPIO_InitStruct.Speed = GPIO_SPEED_FREQ_LOW;
  HAL_GPIO_Init(GPIOB, &GPIO_InitStruct);

  /*Configure GPIO pins : PB10 PB3 */
  GPIO_InitStruct.Pin = GPIO_PIN_10|GPIO_PIN_3;
  GPIO_InitStruct.Mode = GPIO_MODE_AF_PP;
  GPIO_InitStruct.Pull = GPIO_NOPULL;
  GPIO_InitStruct.Speed = GPIO_SPEED_FREQ_LOW;
  GPIO_InitStruct.Alternate = GPIO_AF1_TIM2;
  HAL_GPIO_Init(GPIOB, &GPIO_InitStruct);

  /* EXTI interrupt init*/
  HAL_NVIC_SetPriority(EXTI0_IRQn, 0, 0);
  HAL_NVIC_EnableIRQ(EXTI0_IRQn);

}

/* USER CODE BEGIN 4 */
//this function allow user to change Active ADC channel
void ADC_SetActiveChannel(ADC_HandleTypeDef *hadc, uint32_t AdcChannel)
{
  ADC_ChannelConfTypeDef sConfig = {0};
  sConfig.Channel = AdcChannel;
  sConfig.Rank = 1;
  sConfig.SamplingTime = ADC_SAMPLETIME_3CYCLES;
  if (HAL_ADC_ConfigChannel(hadc, &sConfig) != HAL_OK)
  {
   Error_Handler();
  }
}
/* USER CODE END 4 */

void Error_Handler(void)
{
  __disable_irq();
  while (1)
  {
  }
}
